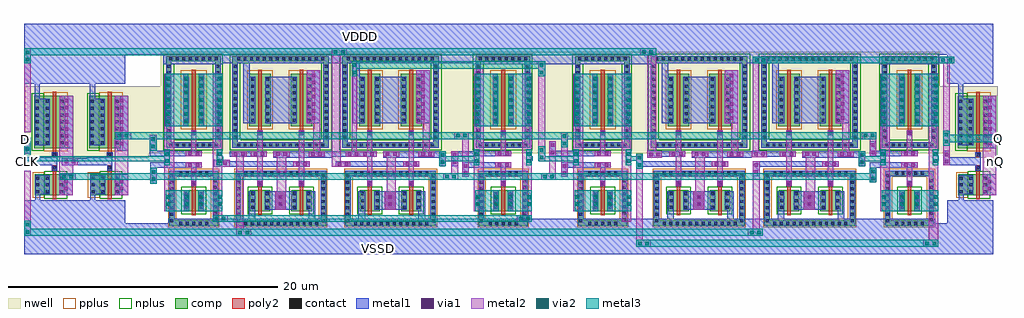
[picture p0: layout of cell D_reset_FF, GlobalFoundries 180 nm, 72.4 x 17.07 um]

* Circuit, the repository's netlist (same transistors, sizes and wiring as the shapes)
** sch_path: /home/gf180/Documents/gf180/gf180_work/PICO_contest/SAR_logic/xschem/D_reset_FF.sch
.subckt D_reset_FF VDDD VSSD Q nQ CLK D Reset Set
*.PININFO VDDD:B VSSD:B Q:B nQ:B CLK:I D:I Reset:I Set:I
x11 VDDD CLK nCLK VSSD inv_1x
x1 CLK_buf VDDD D net1 VSSD nCLK t_gate
x2 VDDD Set net2 net1 VSSD nor_2_1x
x4 nCLK VDDD net2 net4 VSSD CLK_buf t_gate
x6 VDDD Reset Q net4 VSSD nor_2_1x
x3 nCLK VDDD net3 net1 VSSD CLK_buf t_gate
x5 VDDD net2 net3 Reset VSSD nor_2_1x
x7 CLK_buf VDDD net5 net4 VSSD nCLK t_gate
x8 VDDD Q net5 Set VSSD nor_2_1x
x9 VDDD Q nQ VSSD inv_1x
x10 VDDD nCLK CLK_buf VSSD inv_1x
.ends

* expanding   symbol:  PICO_contest/SAR_logic/xschem/inv_1x.sym # of pins=4
** sym_path: /home/gf180/Documents/gf180/gf180_work/PICO_contest/SAR_logic/xschem/inv_1x.sym
** sch_path: /home/gf180/Documents/gf180/gf180_work/PICO_contest/SAR_logic/xschem/inv_1x.sch
.subckt inv_1x VDDD IN OUT VSSD
*.PININFO IN:I VDDD:B VSSD:B OUT:B
M1 OUT IN VDDD VDDD pfet_03v3 L=0.28u W=3.9u nf=1 m=1
M2 OUT IN VSSD VSSD nfet_03v3 L=0.28u W=1.56u nf=1 m=1
.ends


* expanding   symbol:  PICO_contest/SAR_logic/xschem/t_gate.sym # of pins=6
** sym_path: /home/gf180/Documents/gf180/gf180_work/PICO_contest/SAR_logic/xschem/t_gate.sym
** sch_path: /home/gf180/Documents/gf180/gf180_work/PICO_contest/SAR_logic/xschem/t_gate.sch
.subckt t_gate p_CLK VDDD IN OUT VSSD n_CLK
*.PININFO IN:B VDDD:B VSSD:B OUT:B n_CLK:I p_CLK:I
M1 IN n_CLK OUT VSSD nfet_03v3 L=0.28u W=1.56u nf=1 m=1
M2 IN p_CLK OUT VDDD pfet_03v3 L=0.28u W=3.9u nf=1 m=1
.ends


* expanding   symbol:  PICO_contest/SAR_logic/xschem/nor_2_1x.sym # of pins=5
** sym_path: /home/gf180/Documents/gf180/gf180_work/PICO_contest/SAR_logic/xschem/nor_2_1x.sym
** sch_path: /home/gf180/Documents/gf180/gf180_work/PICO_contest/SAR_logic/xschem/nor_2_1x.sch
.subckt nor_2_1x VDDD A OUT B VSSD
*.PININFO A:I B:I VDDD:B VSSD:B OUT:B
M1 OUT B VSSD VSSD nfet_03v3 L=0.28u W=1.56u nf=1 m=1
M2 OUT A VSSD VSSD nfet_03v3 L=0.28u W=1.56u nf=1 m=1
M3 OUT B net1 VDDD pfet_03v3 L=0.28u W=3.9u nf=1 m=1
M4 net1 A VDDD VDDD pfet_03v3 L=0.28u W=3.9u nf=1 m=1
.ends

.end

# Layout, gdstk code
from math import pi, radians
import gdstk
lib = gdstk.Library(unit=1e-6, precision=1e-09)
def R(c, l, rs):  # rectangles x0, y0, x1, y1
    for r in rs: c.add(gdstk.rectangle(r[:2], r[2:], *l))
def A(c, l, x, y, w, h, nx, ny, dx, dy):  # array of equal rectangles
    R(c, l, [(x+i*dx, y+j*dy, x+i*dx+w, y+j*dy+h) for i in range(nx) for j in range(ny)])
nwell = (21, 0)
comp = (22, 0)
poly2 = (30, 0)
pplus = (31, 0)
nplus = (32, 0)
contact = (33, 0)
metal1 = (34, 0)
via1 = (35, 0)
metal2 = (36, 0)
via2 = (38, 0)
metal3 = (42, 0)

pfet_2 = lib.new_cell('pfet$2')
R(pfet_2, nwell, [(-1.15,-0.69,2.54,4.59)])
R(pfet_2, comp, [(-0.46,0,0,3.9), (0,0,0.66,3.9), (0.66,0,1.12,3.9), (1.12,0,1.85,3.9)])
R(pfet_2, poly2, [(0.19,-0.3,0.47,4.2), (0.14,4.2,0.52,4.58)])
R(pfet_2, pplus, [(-0.63,-0.24,1.12,4.14)])
R(pfet_2, nplus, [(1.12,-0.17,2.02,4.07)])
A(pfet_2, contact, -0.34, 0.31, 0.22, 0.22, 1, 7, 0, 0.51)
A(pfet_2, contact, 0.78, 0.31, 0.22, 0.22, 1, 7, 0, 0.51)
A(pfet_2, contact, 1.51, 0.31, 0.22, 0.22, 1, 7, 0, 0.51)
R(pfet_2, contact, [(0.22,4.28,0.44,4.5)])
R(pfet_2, metal1, [(-0.42,0.23,-0.04,3.67), (0.7,0.23,1.08,3.67), (1.43,0.23,1.81,3.67), (0.14,4.199,0.52,4.581)])

nfet_1 = lib.new_cell('nfet$1')
R(nfet_1, comp, [(-0.42,0,0,1.56), (0,0,0.66,1.56), (0.66,0,1.08,1.56), (1.08,0,1.79,1.56)])
R(nfet_1, poly2, [(0.19,-0.3,0.47,1.86), (0.15,1.86,0.51,2.22)])
R(nfet_1, pplus, [(1.08,-0.17,1.96,1.73)])
R(nfet_1, nplus, [(-0.59,-0.24,1.08,1.8)])
A(nfet_1, contact, -0.32, 0.16, 0.22, 0.22, 1, 3, 0, 0.51)
A(nfet_1, contact, 0.76, 0.16, 0.22, 0.22, 1, 3, 0, 0.51)
A(nfet_1, contact, 1.47, 0.16, 0.22, 0.22, 1, 3, 0, 0.51)
R(nfet_1, contact, [(0.22,1.93,0.44,2.15)])
R(nfet_1, metal1, [(-0.4,0.08,-0.02,1.48), (0.68,0.08,1.06,1.48), (1.39,0.08,1.77,1.48), (0.14,1.849,0.52,2.231)])

via_dev_16 = lib.new_cell('via_dev$16')
R(via_dev_16, metal1, [(0,0,1,1.56)])
R(via_dev_16, via1, [(0.37,0.385,0.63,0.645), (0.37,0.915,0.63,1.175)])
R(via_dev_16, metal2, [(0,0,1,1.56)])

via_dev_1 = lib.new_cell('via_dev$1')
R(via_dev_1, metal1, [(0,0,1,3.9)])
A(via_dev_1, via1, 0.37, 0.23, 0.26, 0.26, 1, 7, 0, 0.53)
R(via_dev_1, metal2, [(0,0,1,3.9)])

inv_1x = lib.new_cell('inv_1x')
R(inv_1x, metal1, [(-1.6,-3.6,1.8,-3.05), (-0.77,-3.1,-0.4,-2.6), (-0.5,-2.62,0.05,-1.22), (0.475,-0.855,0.86,-0.47), (0.48,-0.6,0.86,0.21), (-1,-0.47,0.86,0.14), (0.45,0.12,0.89,0.51), (-0.48,1.03,0.01,4.47), (-0.81,4.42,-0.43,5.67), (-1.6,5.6,1.8,6.16)])
R(inv_1x, metal2, [(1.02,-1.14,2.04,0.81)])
inv_1x.add(gdstk.Reference(pfet_2, (1,4.7), rotation=pi))
inv_1x.add(gdstk.Reference(nfet_1, (1,-2.7), rotation=pi, x_reflection=True))
inv_1x.add(gdstk.Reference(via_dev_16, (1.02,-2.7)))
inv_1x.add(gdstk.Reference(via_dev_1, (1.04,0.8)))

via_dev_18 = lib.new_cell('via_dev$18')
R(via_dev_18, metal1, [(0,0,1.2,0.5)])
R(via_dev_18, via1, [(0.205,0.12,0.465,0.38), (0.735,0.12,0.995,0.38)])
R(via_dev_18, metal2, [(0,0,1.2,0.5)])

via_dev_20 = lib.new_cell('via_dev$20')
R(via_dev_20, metal2, [(0,0,1.2,0.5)])
R(via_dev_20, via2, [(0.205,0.12,0.465,0.38), (0.735,0.12,0.995,0.38)])
R(via_dev_20, metal3, [(0,0,1.2,0.5)])

via_dev_23 = lib.new_cell('via_dev$23')
R(via_dev_23, metal1, [(0,0,0.5,1.2)])
R(via_dev_23, via1, [(0.12,0.205,0.38,0.465), (0.12,0.735,0.38,0.995)])
R(via_dev_23, metal2, [(0,0,0.5,1.2)])
R(via_dev_23, via2, [(0.12,0.205,0.38,0.465), (0.12,0.735,0.38,0.995)])
R(via_dev_23, metal3, [(0,0,0.5,1.2)])

via_dev_24 = lib.new_cell('via_dev$24')
R(via_dev_24, metal1, [(0,0,0.5,1.1)])
R(via_dev_24, via1, [(0.12,0.155,0.38,0.415), (0.12,0.685,0.38,0.945)])
R(via_dev_24, metal2, [(0,0,0.5,1.1)])
R(via_dev_24, via2, [(0.12,0.155,0.38,0.415), (0.12,0.685,0.38,0.945)])
R(via_dev_24, metal3, [(0,0,0.5,1.1)])

via_dev_26 = lib.new_cell('via_dev$26')
R(via_dev_26, metal1, [(0,0,0.5,1.1)])
R(via_dev_26, via1, [(0.12,0.155,0.38,0.415), (0.12,0.685,0.38,0.945)])
R(via_dev_26, metal2, [(0,0,0.5,1.1)])

via_dev_27 = lib.new_cell('via_dev$27')
R(via_dev_27, metal2, [(0,0,1.1,0.5)])
R(via_dev_27, via2, [(0.155,0.12,0.415,0.38), (0.685,0.12,0.945,0.38)])
R(via_dev_27, metal3, [(0,0,1.1,0.5)])

pfet = lib.new_cell('pfet')
R(pfet, nwell, [(-0.9,-0.44,1.56,4.34)])
R(pfet, comp, [(-0.46,0,0,3.9), (0,0,0.66,3.9), (0.66,0,1.12,3.9)])
R(pfet, poly2, [(0.19,-0.3,0.47,4.2), (0.14,4.2,0.52,4.58)])
R(pfet, pplus, [(-0.63,-0.24,1.29,4.14)])
A(pfet, contact, -0.34, 0.31, 0.22, 0.22, 1, 7, 0, 0.51)
A(pfet, contact, 0.78, 0.31, 0.22, 0.22, 1, 7, 0, 0.51)
R(pfet, contact, [(0.22,4.28,0.44,4.5)])
R(pfet, metal1, [(-0.42,0.23,-0.04,3.67), (0.7,0.23,1.08,3.67), (0.14,4.199,0.52,4.581)])

via_dev = lib.new_cell('via_dev')
R(via_dev, poly2, [(0,0,0.4,0.4)])
R(via_dev, contact, [(0.09,0.09,0.31,0.31)])
R(via_dev, metal1, [(0,0,0.4,0.4)])
R(via_dev, via1, [(0.07,0.07,0.33,0.33)])
R(via_dev, metal2, [(0,0,0.4,0.4)])

nfet = lib.new_cell('nfet')
R(nfet, comp, [(-0.42,0,0,1.56), (0,0,0.66,1.56), (0.66,0,1.08,1.56)])
R(nfet, poly2, [(0.19,-0.3,0.47,1.86), (0.15,1.86,0.51,2.22)])
R(nfet, nplus, [(-0.59,-0.24,1.25,1.8)])
A(nfet, contact, -0.32, 0.16, 0.22, 0.22, 1, 3, 0, 0.51)
A(nfet, contact, 0.76, 0.16, 0.22, 0.22, 1, 3, 0, 0.51)
R(nfet, contact, [(0.22,1.93,0.44,2.15)])
R(nfet, metal1, [(-0.4,0.08,-0.02,1.48), (0.68,0.08,1.06,1.48), (0.14,1.849,0.52,2.231)])

via_dev_2 = lib.new_cell('via_dev$2')
R(via_dev_2, comp, [(0,0,0.4,6)])
A(via_dev_2, contact, 0.09, 0.25, 0.22, 0.22, 1, 12, 0, 0.48)
R(via_dev_2, metal1, [(0,0,0.4,6)])

via_dev_3 = lib.new_cell('via_dev$3')
R(via_dev_3, metal1, [(0,0,1.2,0.4)])
R(via_dev_3, via1, [(0.205,0.07,0.465,0.33), (0.735,0.07,0.995,0.33)])
R(via_dev_3, metal2, [(0,0,1.2,0.4)])

via_dev_4 = lib.new_cell('via_dev$4')
R(via_dev_4, comp, [(0,0,7.15,0.4)])
A(via_dev_4, contact, 0.345, 0.09, 0.22, 0.22, 14, 1, 0.48, 0)
R(via_dev_4, metal1, [(0,0,7.15,0.4)])

via_dev_5 = lib.new_cell('via_dev$5')
R(via_dev_5, comp, [(0,0,6,0.4)])
A(via_dev_5, contact, 0.25, 0.09, 0.22, 0.22, 12, 1, 0.48, 0)
R(via_dev_5, metal1, [(0,0,6,0.4)])

via_dev_6 = lib.new_cell('via_dev$6')
R(via_dev_6, comp, [(0,0,0.4,4.1)])
A(via_dev_6, contact, 0.09, 0.26, 0.22, 0.22, 1, 8, 0, 0.48)
R(via_dev_6, metal1, [(0,0,0.4,4.1)])

via_dev_7 = lib.new_cell('via_dev$7')
R(via_dev_7, poly2, [(0,0,0.8,1.4)])
R(via_dev_7, contact, [(0.29,0.35,0.51,0.57), (0.29,0.83,0.51,1.05)])
R(via_dev_7, metal1, [(0,0,0.8,1.4)])
R(via_dev_7, via1, [(0.27,0.305,0.53,0.565), (0.27,0.835,0.53,1.095)])
R(via_dev_7, metal2, [(0,0,0.8,1.4)])

nor_2_1x = lib.new_cell('nor_2_1x')
R(nor_2_1x, nwell, [(-1.89,-1.15,5.88,6.3)])
R(nor_2_1x, pplus, [(-1.45,-6.7,-0.83,-2.35), (-1.45,-6.7,4.9,-6.08), (4.82,-6.7,5.44,-2.35), (-1.45,-2.97,4.9,-2.35)])
R(nor_2_1x, nplus, [(-1.8,-1,5.78,-0.2), (-1.8,-0.85,-1,6.05), (4.98,-0.85,5.78,6.1), (-1.8,5.45,5.78,6.18)])
R(nor_2_1x, metal1, [(-1.45,-6.7,5.44,-6.08), (-0.4,-6.29,0.1,-4.02), (4.06,-6.29,4.56,-4.02), (1.17,-5.42,2.84,-4.02), (-1.8,-2.2,2.93,-1.8), (1.44,-1.54,5.8,-1.06), (-1.8,-1.46,-0.24,-1.06), (-0.8,1.03,-0.3,5.98), (1.2,1.03,2.78,4.47), (-1.6,5.45,5.55,6.1)])
R(nor_2_1x, metal2, [(1.7,-4.02,2.38,-1.06), (0.25,-3.26,0.65,0.18), (3.33,-3.26,3.73,0.29), (4.38,-1.2,4.9,1.2)])
nor_2_1x.add(gdstk.Reference(pfet, (0.12,4.7), x_reflection=True))
nor_2_1x.add(gdstk.Reference(via_dev, (3.33,-3.66)))
nor_2_1x.add(gdstk.Reference(via_dev, (0.25,0.11)))
nor_2_1x.add(gdstk.Reference(via_dev, (3.33,0.11)))
nor_2_1x.add(gdstk.Reference(via_dev_1, (3.9,1.03)))
nor_2_1x.add(gdstk.Reference(nfet, (0.12,-5.5)))
nor_2_1x.add(gdstk.Reference(via_dev_2, (-1.6,-0.4)))
nor_2_1x.add(gdstk.Reference(via_dev_3, (2.93,-2.2)))
nor_2_1x.add(gdstk.Reference(via_dev_4, (-1.6,5.6)))
nor_2_1x.add(gdstk.Reference(nfet, (3.2,-5.5)))
nor_2_1x.add(gdstk.Reference(via_dev_5, (-0.97,-2.9)))
nor_2_1x.add(gdstk.Reference(via_dev_5, (-0.97,-6.6)))
nor_2_1x.add(gdstk.Reference(via_dev_6, (-1.37,-6.6)))
nor_2_1x.add(gdstk.Reference(via_dev_7, (1.56,-5.42)))
nor_2_1x.add(gdstk.Reference(via_dev, (0.25,-3.66)))
nor_2_1x.add(gdstk.Reference(via_dev_3, (1.44,-1.46)))
nor_2_1x.add(gdstk.Reference(via_dev_3, (4.05,-1.46)))
nor_2_1x.add(gdstk.Reference(pfet, (3.2,4.7), x_reflection=True))
nor_2_1x.add(gdstk.Reference(via_dev_3, (-0.24,-1.46)))
nor_2_1x.add(gdstk.Reference(via_dev_2, (5.15,-0.4)))
nor_2_1x.add(gdstk.Reference(via_dev_4, (-1.6,-0.8)))
nor_2_1x.add(gdstk.Reference(via_dev_6, (4.95,-6.6)))

via_dev_30 = lib.new_cell('via_dev$30')
R(via_dev_30, metal1, [(0,0,1.1,0.4)])
R(via_dev_30, via1, [(0.155,0.07,0.415,0.33), (0.685,0.07,0.945,0.33)])
R(via_dev_30, metal2, [(0,0,1.1,0.4)])

pfet_1 = lib.new_cell('pfet$1')
R(pfet_1, nwell, [(-0.9,-0.44,1.56,4.34)])
R(pfet_1, comp, [(-0.46,0,0,3.9), (0,0,0.66,3.9), (0.66,0,1.12,3.9)])
R(pfet_1, poly2, [(0.19,-0.3,0.47,4.2), (0.14,4.2,0.52,4.58)])
R(pfet_1, pplus, [(-0.63,-0.24,1.29,4.14)])
A(pfet_1, contact, -0.34, 0.31, 0.22, 0.22, 1, 7, 0, 0.51)
A(pfet_1, contact, 0.78, 0.31, 0.22, 0.22, 1, 7, 0, 0.51)
R(pfet_1, contact, [(0.22,4.28,0.44,4.5)])
R(pfet_1, metal1, [(-0.42,0.23,-0.04,3.67), (0.7,0.23,1.08,3.67), (0.14,4.199,0.52,4.581)])

via_dev_8 = lib.new_cell('via_dev$8')
R(via_dev_8, metal1, [(0,0,0.4,1.56)])
R(via_dev_8, via1, [(0.07,0.385,0.33,0.645), (0.07,0.915,0.33,1.175)])
R(via_dev_8, metal2, [(0,0,0.4,1.56)])
R(via_dev_8, via2, [(0.07,0.385,0.33,0.645), (0.07,0.915,0.33,1.175)])
R(via_dev_8, metal3, [(0,0,0.4,1.56)])

via_dev_9 = lib.new_cell('via_dev$9')
R(via_dev_9, metal2, [(0,0,0.4,1.56)])
R(via_dev_9, via2, [(0.07,0.385,0.33,0.645), (0.07,0.915,0.33,1.175)])
R(via_dev_9, metal3, [(0,0,0.4,1.56)])

via_dev_10 = lib.new_cell('via_dev$10')
R(via_dev_10, comp, [(0,0,4.05,0.4)])
A(via_dev_10, contact, 0.235, 0.09, 0.22, 0.22, 8, 1, 0.48, 0)
R(via_dev_10, metal1, [(0,0,4.05,0.4)])

via_dev_11 = lib.new_cell('via_dev$11')
R(via_dev_11, metal1, [(0,0,0.4,3.9)])
A(via_dev_11, via1, 0.07, 0.23, 0.26, 0.26, 1, 7, 0, 0.53)
R(via_dev_11, metal2, [(0,0,0.4,3.9)])
A(via_dev_11, via2, 0.07, 0.23, 0.26, 0.26, 1, 7, 0, 0.53)
R(via_dev_11, metal3, [(0,0,0.4,3.9)])

via_dev_12 = lib.new_cell('via_dev$12')
R(via_dev_12, comp, [(0,0,2.83,0.4)])
A(via_dev_12, contact, 0.345, 0.09, 0.22, 0.22, 5, 1, 0.48, 0)
R(via_dev_12, metal1, [(0,0,2.83,0.4)])

via_dev_13 = lib.new_cell('via_dev$13')
R(via_dev_13, metal2, [(0,0,0.4,3.9)])
A(via_dev_13, via2, 0.07, 0.23, 0.26, 0.26, 1, 7, 0, 0.53)
R(via_dev_13, metal3, [(0,0,0.4,3.9)])

via_dev_14 = lib.new_cell('via_dev$14')
R(via_dev_14, comp, [(0,0,0.4,3.8)])
A(via_dev_14, contact, 0.09, 0.35, 0.22, 0.22, 1, 7, 0, 0.48)
R(via_dev_14, metal1, [(0,0,0.4,3.8)])

via_dev_15 = lib.new_cell('via_dev$15')
R(via_dev_15, metal2, [(0,0,0.4,1.2)])
R(via_dev_15, via2, [(0.07,0.205,0.33,0.465), (0.07,0.735,0.33,0.995)])
R(via_dev_15, metal3, [(0,0,0.4,1.2)])

t_gate = lib.new_cell('t_gate')
R(t_gate, nwell, [(-2,-1.2,3.03,6.3)])
R(t_gate, comp, [(1.86,-2.8,2.26,-2.5)])
R(t_gate, pplus, [(-1.45,-6.7,-0.83,-2.35), (-1.45,-6.7,1.73,-6.08), (1.73,-6.7,2.35,-2.35), (-1.45,-2.97,1.83,-2.35)])
R(t_gate, nplus, [(-1.8,-1,2.62,-0.2), (-1.8,-0.85,-1,6.05), (1.85,-0.85,2.62,6.1), (-1.8,5.4,2.62,6.18)])
R(t_gate, metal1, [(-1.45,-6.7,2.35,-6.08), (1.86,-2.8,2.26,-2.5), (-1.79,-2.27,-0.09,-1.87), (-1.78,-1.43,-0.11,-1.03), (-1.8,5.4,2.62,6.18)])
R(t_gate, metal2, [(1.86,-6.3,2.57,4.71), (-1.72,-5.5,-1.01,4.69), (0.25,-3.6,0.65,-2), (0.25,-1.32,0.65,0.51)])
R(t_gate, metal3, [(-1.63,-5.5,-0.3,-3.94), (-1.63,-5.5,-0.3,-3.94), (0.8,-5.5,2.4,-3.94), (-1.78,-1.8,-1.32,-1.42), (2.17,-1.78,2.63,-1.42), (-1.67,0.8,-0.34,4.7), (1.24,0.8,2.57,4.7)])
t_gate.add(gdstk.Reference(pfet_1, (0.12,4.7), x_reflection=True))
t_gate.add(gdstk.Reference(via_dev_8, (-0.3,-5.5)))
t_gate.add(gdstk.Reference(via_dev, (0.25,0.11)))
t_gate.add(gdstk.Reference(via_dev_8, (0.8,-5.5)))
t_gate.add(gdstk.Reference(via_dev_9, (-1.63,-5.5)))
t_gate.add(gdstk.Reference(nfet, (0.12,-5.5)))
t_gate.add(gdstk.Reference(via_dev_2, (-1.6,-0.4)))
t_gate.add(gdstk.Reference(via_dev_9, (2.17,-5.5)))
t_gate.add(gdstk.Reference(via_dev_2, (2.05,-0.4)))
t_gate.add(gdstk.Reference(via_dev_10, (-1.6,5.6)))
t_gate.add(gdstk.Reference(via_dev_10, (-1.6,-0.8)))
t_gate.add(gdstk.Reference(via_dev_11, (-0.34,0.8)))
t_gate.add(gdstk.Reference(via_dev_12, (-0.97,-2.9)))
t_gate.add(gdstk.Reference(via_dev_11, (0.84,0.8)))
t_gate.add(gdstk.Reference(via_dev, (0.25,-3.66)))
t_gate.add(gdstk.Reference(via_dev_6, (-1.37,-6.6)))
t_gate.add(gdstk.Reference(via_dev_13, (-1.67,0.8)))
t_gate.add(gdstk.Reference(via_dev_14, (1.86,-6.6)))
t_gate.add(gdstk.Reference(via_dev_12, (-0.97,-6.6)))
t_gate.add(gdstk.Reference(via_dev_13, (2.17,0.8)))
t_gate.add(gdstk.Reference(via_dev_3, (-0.15,-2.27)))
t_gate.add(gdstk.Reference(via_dev_3, (-0.15,-1.43)))
t_gate.add(gdstk.Reference(via_dev_15, (-1.72,-2.12)))
t_gate.add(gdstk.Reference(via_dev_15, (2.17,-2.12)))

t_gate_1 = lib.new_cell('t_gate$1')
R(t_gate_1, nwell, [(-2,-1.2,2.7,6.3)])
R(t_gate_1, comp, [(1.86,-2.8,2.26,-2.5)])
R(t_gate_1, pplus, [(-1.45,-6.7,-0.83,-2.35), (-1.45,-6.7,1.73,-6.08), (1.73,-6.7,2.35,-2.35), (-1.45,-2.97,1.83,-2.35)])
R(t_gate_1, nplus, [(-1.8,-1,2.62,-0.2), (-1.8,-0.85,-1,6.05), (1.85,-0.85,2.62,6.1), (-1.8,5.4,2.62,6.18)])
R(t_gate_1, metal1, [(-1.45,-6.7,2.35,-6.08), (1.86,-2.8,2.26,-2.5), (-1.79,-2.27,-0.09,-1.87), (-1.78,-1.43,-0.11,-1.03), (-1.8,5.4,2.62,6.18)])
R(t_gate_1, metal2, [(1.86,-6.3,2.57,4.71), (-1.72,-5.5,-1.01,4.69), (0.25,-3.6,0.65,-2), (0.25,-1.32,0.65,0.51)])
R(t_gate_1, metal3, [(-1.63,-5.5,-0.3,-3.94), (-1.63,-5.5,-0.3,-3.94), (0.8,-5.5,2.4,-3.94), (-1.78,-1.8,-1.32,-1.42), (2.17,-1.78,2.63,-1.42), (-1.67,0.8,-0.34,4.7), (1.24,0.8,2.57,4.7)])
t_gate_1.add(gdstk.Reference(pfet_1, (0.12,4.7), x_reflection=True))
t_gate_1.add(gdstk.Reference(via_dev_8, (-0.3,-5.5)))
t_gate_1.add(gdstk.Reference(via_dev, (0.25,0.11)))
t_gate_1.add(gdstk.Reference(via_dev_8, (0.8,-5.5)))
t_gate_1.add(gdstk.Reference(via_dev_9, (-1.63,-5.5)))
t_gate_1.add(gdstk.Reference(nfet, (0.12,-5.5)))
t_gate_1.add(gdstk.Reference(via_dev_2, (-1.6,-0.4)))
t_gate_1.add(gdstk.Reference(via_dev_9, (2.17,-5.5)))
t_gate_1.add(gdstk.Reference(via_dev_2, (2.05,-0.4)))
t_gate_1.add(gdstk.Reference(via_dev_10, (-1.6,5.6)))
t_gate_1.add(gdstk.Reference(via_dev_10, (-1.6,-0.8)))
t_gate_1.add(gdstk.Reference(via_dev_11, (-0.34,0.8)))
t_gate_1.add(gdstk.Reference(via_dev_12, (-0.97,-2.9)))
t_gate_1.add(gdstk.Reference(via_dev_11, (0.84,0.8)))
t_gate_1.add(gdstk.Reference(via_dev, (0.25,-3.66)))
t_gate_1.add(gdstk.Reference(via_dev_6, (-1.37,-6.6)))
t_gate_1.add(gdstk.Reference(via_dev_13, (-1.67,0.8)))
t_gate_1.add(gdstk.Reference(via_dev_14, (1.86,-6.6)))
t_gate_1.add(gdstk.Reference(via_dev_12, (-0.97,-6.6)))
t_gate_1.add(gdstk.Reference(via_dev_13, (2.17,0.8)))
t_gate_1.add(gdstk.Reference(via_dev_3, (-0.15,-2.27)))
t_gate_1.add(gdstk.Reference(via_dev_3, (-0.15,-1.43)))
t_gate_1.add(gdstk.Reference(via_dev_15, (-1.72,-2.12)))
t_gate_1.add(gdstk.Reference(via_dev_15, (2.17,-2.12)))

via_dev_29 = lib.new_cell('via_dev$29')
R(via_dev_29, metal2, [(0,0,0.5,1.1)])
R(via_dev_29, via2, [(0.12,0.155,0.38,0.415), (0.12,0.685,0.38,0.945)])
R(via_dev_29, metal3, [(0,0,0.5,1.1)])

via_dev_28 = lib.new_cell('via_dev$28')
R(via_dev_28, metal1, [(0,0,0.5,1.1)])
R(via_dev_28, via1, [(0.12,0.155,0.38,0.415), (0.12,0.685,0.38,0.945)])
R(via_dev_28, metal2, [(0,0,0.5,1.1)])
R(via_dev_28, via2, [(0.12,0.155,0.38,0.415), (0.12,0.685,0.38,0.945)])
R(via_dev_28, metal3, [(0,0,0.5,1.1)])

via_dev_31 = lib.new_cell('via_dev$31')
R(via_dev_31, metal1, [(0,0,1.1,0.5)])
R(via_dev_31, via1, [(0.155,0.12,0.415,0.38), (0.685,0.12,0.945,0.38)])
R(via_dev_31, metal2, [(0,0,1.1,0.5)])

via_dev_32 = lib.new_cell('via_dev$32')
R(via_dev_32, metal1, [(0,0,1.1,0.48)])
R(via_dev_32, via1, [(0.155,0.11,0.415,0.37), (0.685,0.11,0.945,0.37)])
R(via_dev_32, metal2, [(0,0,1.1,0.48)])

via_dev_33 = lib.new_cell('via_dev$33')
R(via_dev_33, metal2, [(0,0,0.4,1.1)])
R(via_dev_33, via2, [(0.07,0.155,0.33,0.415), (0.07,0.685,0.33,0.945)])
R(via_dev_33, metal3, [(0,0,0.4,1.1)])

d_reset_ff = lib.new_cell('D_reset_FF')
R(d_reset_ff, nwell, [(-15.14,-0.89,-7.35,4.39), (-7.35,-0.56,-6.46,4.39), (-6.46,-0.56,19.7,6.94), (21.53,-0.56,46.14,6.94), (46.14,-0.56,46.64,6.94), (48.84,-0.56,51.96,4.39)])
R(d_reset_ff, metal1, [(-16.6,-8.05,-9.1,-4.6), (-16.37,-8.05,55.04,-5.77), (51.9,-8.05,55.3,-4.6), (-2.11,-6.06,-0.99,-5.44), (5.9,-6.06,7.15,-5.44), (14.04,-6.06,17.095,-5.44), (20.85,-6.06,24.43,-5.44), (26.23,-6.06,29.55,-5.44), (34.44,-6.06,38.25,-5.44), (42.64,-6.06,47.19,-5.44), (29.55,-5.77,30.05,-5.44), (-13.2,-4.6,-11.1,-4.05), (46.13,-2.539,46.532,-1.63), (-7.25,-1.63,-6.217,-1.23), (16.395,-1.63,16.712,-1.23), (23.749,-1.63,24.09,-1.23), (46.13,-1.63,46.85,-1.23), (29.16,-1.56,29.722,-1.16), (-16.6,-1.47,-16,-0.86), (52.09,-1.47,52.5,-0.86), (-12.7,-1.45,-11.79,-0.95), (37.24,-0.9,37.4,-0.42), (6.25,-0.82,6.844,-0.42), (-7.27,-0.79,-6.24,-0.39), (15.581,-0.79,16.72,-0.42), (22.851,-0.79,24.1,-0.39), (46.175,-0.79,46.883,-0.39), (-9.7,-0.39,-8.86,-0.2), (-13.2,4.6,-11.1,5.16), (-16.6,5.16,-9.1,9.02), (51.9,5.16,55.3,9.02), (21.12,6.04,24.08,6.82), (26.5,6.04,29.948,6.74), (-1.842,6.09,-1.14,6.74), (6.01,6.09,7,6.74), (14.15,6.09,16.7,6.74), (34.55,6.09,38.1,6.74), (42.75,6.09,46.84,6.74), (-16.37,6.74,55.04,9.02)])
R(d_reset_ff, metal2, [(50.5,-7.5,51.21,-5.66), (28.8,-7.364,29.3,-1.697), (-0.85,-6.69,-0.3,-0.73), (37.46,-6.503,37.96,-2.26), (-16.6,-5.59,-16.1,-1.87), (20.335,-5.189,21.07,-4.86), (15.1,-2.54,15.6,-1.52), (22.36,-2.54,22.86,-0.79), (6.24,-1.56,6.91,7.2), (15.9,-1.231,16.4,0.509), (23.25,-1.23,23.75,0.52), (7.7,-0.82,8.1,5.94), (29.63,-0.7,30.3,7.2), (37.45,-0.4,37.9,6.34), (51.59,-0.37,52.09,6.59), (21.55,-0.06,22.05,5.7), (46.13,0.31,46.63,0.98), (-16.6,0.98,-16.1,6.1), (16.78,5.33,17.48,5.75)])
R(d_reset_ff, metal3, [(29.9,-7.5,51.21,-7), (-16.42,-6.69,38.18,-6.19), (-1.5,-5.66,19.97,-5.16), (-13.118,-2.54,46.63,-2.04), (-16.6,-1.16,-6.24,-0.78), (14.205,-1.16,16.744,-0.78), (21.55,-1.16,24.1,-0.78), (45.32,-1.16,46.86,-0.78), (28.502,-1.14,29.06,-0.78), (-16.6,-0.78,-16.1,-0.61), (51.8,0.24,55.8,0.81), (-8.66,0.48,46.63,0.98), (7.7,5.71,22.05,6.25), (38.55,6.09,52.296,6.59), (-16.6,6.7,30.3,7.2)])
d_reset_ff.add(gdstk.Reference(inv_1x, (-10.9,-1)))
d_reset_ff.add(gdstk.Reference(inv_1x, (-15,-1)))
d_reset_ff.add(gdstk.Reference(via_dev_18, (-13.8,-1.45)))
d_reset_ff.add(gdstk.Reference(via_dev_18, (-2.54,-1.56)))
d_reset_ff.add(gdstk.Reference(via_dev_20, (-9.86,0.48)))
d_reset_ff.add(gdstk.Reference(via_dev_20, (-13.96,-2.54)))
d_reset_ff.add(gdstk.Reference(via_dev_23, (-7.25,-2.83)))
d_reset_ff.add(gdstk.Reference(via_dev_23, (-7.27,-0.39)))
d_reset_ff.add(gdstk.Reference(via_dev_24, (14.2,-1.52)))
d_reset_ff.add(gdstk.Reference(via_dev_26, (15.1,-1.52)))
d_reset_ff.add(gdstk.Reference(via_dev_26, (15.9,-2.33)))
d_reset_ff.add(gdstk.Reference(via_dev_27, (15.3,0.48)))
d_reset_ff.add(gdstk.Reference(via_dev_27, (19.97,-5.66)))
d_reset_ff.add(gdstk.Reference(via_dev_27, (-2.6,-5.66)))
d_reset_ff.add(gdstk.Reference(via_dev_27, (14.5,-2.54)))
d_reset_ff.add(gdstk.Reference(nor_2_1x, (39.7,0.64)))
d_reset_ff.add(gdstk.Reference(inv_1x, (53.5,-1)))
d_reset_ff.add(gdstk.Reference(via_dev_30, (7.26,-0.82)))
d_reset_ff.add(gdstk.Reference(nor_2_1x, (31.5,0.64)))
d_reset_ff.add(gdstk.Reference(t_gate, (-4.46,0.64)))
d_reset_ff.add(gdstk.Reference(nor_2_1x, (0.46,0.64)))
d_reset_ff.add(gdstk.Reference(t_gate, (18.5,0.64)))
d_reset_ff.add(gdstk.Reference(nor_2_1x, (8.6,0.64)))
d_reset_ff.add(gdstk.Reference(t_gate_1, (48.64,0.64)))
d_reset_ff.add(gdstk.Reference(t_gate_1, (25.88,0.64)))
d_reset_ff.add(gdstk.Reference(via_dev_29, (21.55,-1.16)))
d_reset_ff.add(gdstk.Reference(via_dev_29, (21.55,5.15)))
d_reset_ff.add(gdstk.Reference(via_dev_26, (22.36,-0.79)))
d_reset_ff.add(gdstk.Reference(via_dev_27, (21.76,-2.54)))
d_reset_ff.add(gdstk.Reference(via_dev_26, (23.25,-2.33)))
d_reset_ff.add(gdstk.Reference(via_dev_29, (23.25,-0.12)))
d_reset_ff.add(gdstk.Reference(via_dev_28, (28.8,-1.72)))
d_reset_ff.add(gdstk.Reference(via_dev_30, (6.51,-1.56)))
d_reset_ff.add(gdstk.Reference(via_dev_31, (29.62,-0.9)))
d_reset_ff.add(gdstk.Reference(via_dev_27, (6.24,6.7)))
d_reset_ff.add(gdstk.Reference(via_dev_27, (29.1,6.7)))
d_reset_ff.add(gdstk.Reference(via_dev_30, (-1.18,-0.82)))
d_reset_ff.add(gdstk.Reference(via_dev_27, (-0.85,-6.69)))
d_reset_ff.add(gdstk.Reference(via_dev_27, (37.1,-6.69)))
d_reset_ff.add(gdstk.Reference(via_dev_26, (37.46,-2.26)))
d_reset_ff.add(gdstk.Reference(via_dev_28, (45.32,-1.52)))
d_reset_ff.add(gdstk.Reference(via_dev_27, (45.53,0.48)))
d_reset_ff.add(gdstk.Reference(via_dev_26, (46.13,-0.79)))
d_reset_ff.add(gdstk.Reference(via_dev_28, (46.13,-2.73)))
d_reset_ff.add(gdstk.Reference(via_dev_27, (28.8,-7.5)))
d_reset_ff.add(gdstk.Reference(via_dev_27, (50.11,-7.5)))
d_reset_ff.add(gdstk.Reference(via_dev_32, (37.4,-0.88)))
d_reset_ff.add(gdstk.Reference(via_dev_27, (37.45,6.09)))
d_reset_ff.add(gdstk.Reference(via_dev_26, (51.59,-1.47)))
d_reset_ff.add(gdstk.Reference(via_dev_27, (51.3,6.09)))
d_reset_ff.add(gdstk.Reference(via_dev_29, (51.59,0)))
d_reset_ff.add(gdstk.Reference(via_dev_29, (-16.6,-6.69)))
d_reset_ff.add(gdstk.Reference(via_dev_29, (-16.6,6.1)))
d_reset_ff.add(gdstk.Reference(via_dev_33, (7.7,5.15)))
d_reset_ff.add(gdstk.Reference(via_dev_23, (-16.6,-0.61)))
d_reset_ff.add(gdstk.Label('D', (-16.51,0.47), layer=34, texttype=10))
d_reset_ff.add(gdstk.Label('CLK', (-16.32,-1.18), layer=34, texttype=10))
d_reset_ff.add(gdstk.Label('VDDD', (8.37,8.1), layer=34, texttype=10))
d_reset_ff.add(gdstk.Label('VSSD', (9.71,-7.63), layer=34, texttype=10))
d_reset_ff.add(gdstk.Label('Q', (55.72,0.51), layer=42, texttype=10))
d_reset_ff.add(gdstk.Label('Reset', (-16.38,1.14), layer=36, texttype=10))
d_reset_ff.add(gdstk.Label('nQ', (55.45,-1.22), layer=36, texttype=10))
d_reset_ff.add(gdstk.Label('Set', (-16.4,-1.98), layer=36, texttype=10))

lib.write_gds('D_reset_FF.gds')
